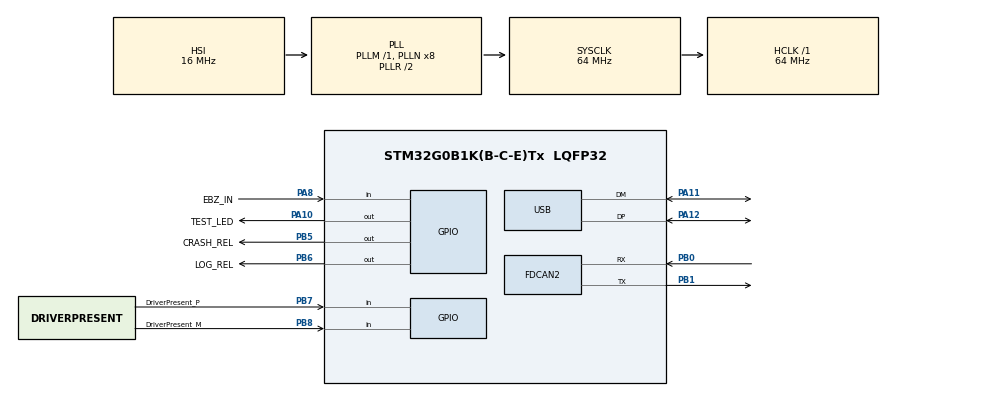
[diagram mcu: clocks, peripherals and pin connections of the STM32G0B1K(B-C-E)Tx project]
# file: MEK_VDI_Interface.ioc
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FDCAN2.AutoRetransmission=ENABLE
FDCAN2.CalculateBaudRateNominal=500000
FDCAN2.CalculateTimeBitNominal=2000
FDCAN2.CalculateTimeQuantumNominal=125.0
FDCAN2.DataPrescaler=8
FDCAN2.DataTimeSeg1=13
FDCAN2.DataTimeSeg2=2
FDCAN2.NominalPrescaler=8
FDCAN2.NominalTimeSeg1=13
FDCAN2.NominalTimeSeg2=2
FDCAN2.TransmitPause=ENABLE
Mcu.Family=STM32G0
Mcu.Name=STM32G0B1K(B-C-E)Tx
Mcu.Package=LQFP32
NVIC.TIM14_IRQn=true\:0\:0\:false\:false\:true\:true\:true\:true
NVIC.TIM16_FDCAN_IT0_IRQn=true\:0\:0\:false\:false\:true\:true\:true\:true
NVIC.TIM17_FDCAN_IT1_IRQn=true\:0\:0\:false\:false\:true\:true\:true\:true
NVIC.TIM7_LPTIM2_IRQn=true\:0\:0\:false\:false\:true\:true\:true\:true
PA10.GPIO_Label=TEST_LED
PA10.Signal=GPIO_Output
PA11\ [PA9].Mode=Device
PA11\ [PA9].Signal=USB_DM
PA12\ [PA10].Mode=Device
PA12\ [PA10].Signal=USB_DP
PA13.Mode=Serial_Wire
PA13.Signal=SYS_SWDIO
PA14-BOOT0.Mode=Serial_Wire
PA14-BOOT0.Signal=SYS_SWCLK
PA8.GPIO_Label=EBZ_IN
PA8.Signal=GPIO_Input
PB0.Mode=FDCAN_Activate
PB0.Signal=FDCAN2_RX
PB1.Mode=FDCAN_Activate
PB1.Signal=FDCAN2_TX
PB5.GPIO_Label=CRASH_REL
PB5.Signal=GPIO_Output
PB6.GPIO_Label=LOG_REL
PB6.Signal=GPIO_Output
PB7.GPIO_Label=DriverPresent_P
PB7.Signal=GPIO_Input
PB8.GPIO_Label=DriverPresent_M
PB8.Signal=GPIO_Input
ProjectManager.HeapSize=0x200
ProjectManager.StackSize=0x400
ProjectManager.TargetToolchain=STM32CubeIDE
RCC.ADCFreq_Value=64000000
RCC.AHBFreq_Value=64000000
RCC.CortexFreq_Value=64000000
RCC.EXTERNAL_CLOCK_VALUE=48000
RCC.HCLKFreq_Value=64000000
RCC.HSE_VALUE=8000000
RCC.HSI48_VALUE=48000000
RCC.HSI_VALUE=16000000
RCC.LSE_VALUE=32768
RCC.SYSCLKFreq_VALUE=64000000
RCC.SYSCLKSource=RCC_SYSCLKSOURCE_PLLCLK
RCC.USBFreq_Value=48000000
RCC.VCOOutputFreq_Value=128000000
TIM14.Period=1000-1
TIM14.Prescaler=64-1
TIM7.Period=1000-1
TIM7.Prescaler=64000-1
USB_DEVICE.CLASS_NAME_FS=CDC
USB_DEVICE.VirtualMode=Cdc
USB_DEVICE.VirtualModeFS=Cdc_FS
VP_SYS_VS_DBSignals.Mode=DisableDeadBatterySignals
VP_TIM14_VS_ClockSourceINT.Mode=Enable_Timer
VP_TIM7_VS_ClockSourceINT.Mode=Enable_Timer
VP_USB_DEVICE_VS_USB_DEVICE_CDC_FS.Mode=CDC_FS
board=custom

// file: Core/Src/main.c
/* USER CODE BEGIN Header */
/**
 ******************************************************************************
 * @file           : main.c
 * @brief          : Main program body
 ******************************************************************************
 * @attention
 *
 * Copyright (c) 2024 STMicroelectronics.
 * All rights reserved.
 *
 * This software is licensed under terms that can be found in the LICENSE file
 * in the root directory of this software component.
 * If no LICENSE file comes with this software, it is provided AS-IS.
 *
 ******************************************************************************
 */
/* USER CODE END Header */
#include "main.h"
#include "usb_device.h"

/* USER CODE BEGIN Includes */
#include "CO_app_STM32.h"
#include "OD.h"
#include "CANopen.h"
//#include "CO_driver_target.h"
/* USER CODE END Includes */

FDCAN_HandleTypeDef hfdcan2;
TIM_HandleTypeDef htim7;
TIM_HandleTypeDef htim14;

/* USER CODE BEGIN PV */
FFZ_Objects FFZ;
uint32_t Rx_OperationTime;
/* USER CODE END PV */

void SystemClock_Config(void);
static void MX_GPIO_Init(void);
static void MX_FDCAN2_Init(void);
static void MX_TIM14_Init(void);
static void MX_TIM7_Init(void);

int main(void) {

	/* MCU Configuration--------------------------------------------------------*/

	/* Reset of all peripherals, Initializes the Flash interface and the Systick. */
	HAL_Init();

	/* Configure the system clock */
	SystemClock_Config();

	/* Initialize all configured peripherals */
	MX_GPIO_Init();
	MX_FDCAN2_Init();
	MX_TIM14_Init();
	MX_USB_Device_Init();
	MX_TIM7_Init();
	/* USER CODE BEGIN 2 */
	HAL_TIM_Base_Start_IT(&htim7);
	readdata(ADDRESS, &Rx_OperationTime);
	FFZ_Init();
//	FFZ.OperationTime = EBZ_Init();

	CANopenNodeSTM32 canOpenNodeSTM32;
	canOpenNodeSTM32.CANHandle = &hfdcan2;
	canOpenNodeSTM32.HWInitFunction = MX_FDCAN2_Init;
	canOpenNodeSTM32.timerHandle = &htim14;
	canOpenNodeSTM32.desiredNodeID = 0x15;
	canOpenNodeSTM32.baudrate = 500;
	canopen_app_init(&canOpenNodeSTM32);
	/* USER CODE END 2 */

	/* Infinite loop */
	/* USER CODE BEGIN WHILE */

	while (1) {

		readParams();
		setParams();

		/*
		 * Process CANopen Start:
		 * Nur wenn Master ein Heartbeat sendet kann das FFZ antworten,
		 */
		if (msg_701_HB == true) {
			canopen_app_process();
		}

		/* USER CODE END WHILE */

	}
}

void SystemClock_Config(void) {
	RCC_OscInitTypeDef RCC_OscInitStruct = { 0 };
	RCC_ClkInitTypeDef RCC_ClkInitStruct = { 0 };

	/** Configure the main internal regulator output voltage
	 */
	HAL_PWREx_ControlVoltageScaling(PWR_REGULATOR_VOLTAGE_SCALE1);

	/** Initializes the RCC Oscillators according to the specified parameters
	 * in the RCC_OscInitTypeDef structure.
	 */
	RCC_OscInitStruct.OscillatorType = RCC_OSCILLATORTYPE_HSI
			| RCC_OSCILLATORTYPE_HSI48;
	RCC_OscInitStruct.HSIState = RCC_HSI_ON;
	RCC_OscInitStruct.HSI48State = RCC_HSI48_ON;
	RCC_OscInitStruct.HSIDiv = RCC_HSI_DIV1;
	RCC_OscInitStruct.HSICalibrationValue = RCC_HSICALIBRATION_DEFAULT;
	RCC_OscInitStruct.PLL.PLLState = RCC_PLL_ON;
	RCC_OscInitStruct.PLL.PLLSource = RCC_PLLSOURCE_HSI;
	RCC_OscInitStruct.PLL.PLLM = RCC_PLLM_DIV1;
	RCC_OscInitStruct.PLL.PLLN = 8;
	RCC_OscInitStruct.PLL.PLLP = RCC_PLLP_DIV2;
	RCC_OscInitStruct.PLL.PLLQ = RCC_PLLQ_DIV2;
	RCC_OscInitStruct.PLL.PLLR = RCC_PLLR_DIV2;
	if (HAL_RCC_OscConfig(&RCC_OscInitStruct) != HAL_OK) {
		Error_Handler();
	}

	/** Initializes the CPU, AHB and APB buses clocks
	 */
	RCC_ClkInitStruct.ClockType = RCC_CLOCKTYPE_HCLK | RCC_CLOCKTYPE_SYSCLK
			| RCC_CLOCKTYPE_PCLK1;
	RCC_ClkInitStruct.SYSCLKSource = RCC_SYSCLKSOURCE_PLLCLK;
	RCC_ClkInitStruct.AHBCLKDivider = RCC_SYSCLK_DIV1;
	RCC_ClkInitStruct.APB1CLKDivider = RCC_HCLK_DIV1;

	if (HAL_RCC_ClockConfig(&RCC_ClkInitStruct, FLASH_LATENCY_2) != HAL_OK) {
		Error_Handler();
	}
}

static void MX_FDCAN2_Init(void) {

	hfdcan2.Instance = FDCAN2;
	hfdcan2.Init.ClockDivider = FDCAN_CLOCK_DIV1;
	hfdcan2.Init.FrameFormat = FDCAN_FRAME_CLASSIC;
	hfdcan2.Init.Mode = FDCAN_MODE_NORMAL;
	hfdcan2.Init.AutoRetransmission = ENABLE;
	hfdcan2.Init.TransmitPause = ENABLE;
	hfdcan2.Init.ProtocolException = DISABLE;
	hfdcan2.Init.NominalPrescaler = 8;
	hfdcan2.Init.NominalSyncJumpWidth = 1;
	hfdcan2.Init.NominalTimeSeg1 = 13;
	hfdcan2.Init.NominalTimeSeg2 = 2;
	hfdcan2.Init.DataPrescaler = 8;
	hfdcan2.Init.DataSyncJumpWidth = 1;
	hfdcan2.Init.DataTimeSeg1 = 13;
	hfdcan2.Init.DataTimeSeg2 = 2;
	hfdcan2.Init.StdFiltersNbr = 0;
	hfdcan2.Init.ExtFiltersNbr = 0;
	hfdcan2.Init.TxFifoQueueMode = FDCAN_TX_FIFO_OPERATION;
	if (HAL_FDCAN_Init(&hfdcan2) != HAL_OK) {
		Error_Handler();
	}

}

static void MX_TIM7_Init(void) {

	TIM_MasterConfigTypeDef sMasterConfig = { 0 };

	htim7.Instance = TIM7;
	htim7.Init.Prescaler = 64000 - 1;
	htim7.Init.CounterMode = TIM_COUNTERMODE_UP;
	htim7.Init.Period = 1000 - 1;
	htim7.Init.AutoReloadPreload = TIM_AUTORELOAD_PRELOAD_DISABLE;
	if (HAL_TIM_Base_Init(&htim7) != HAL_OK) {
		Error_Handler();
	}
	sMasterConfig.MasterOutputTrigger = TIM_TRGO_RESET;
	sMasterConfig.MasterSlaveMode = TIM_MASTERSLAVEMODE_DISABLE;
	if (HAL_TIMEx_MasterConfigSynchronization(&htim7, &sMasterConfig)
			!= HAL_OK) {
		Error_Handler();
	}

}

static void MX_TIM14_Init(void) {

	htim14.Instance = TIM14;
	htim14.Init.Prescaler = 64 - 1;
	htim14.Init.CounterMode = TIM_COUNTERMODE_UP;
	htim14.Init.Period = 1000 - 1;
	htim14.Init.ClockDivision = TIM_CLOCKDIVISION_DIV1;
	htim14.Init.AutoReloadPreload = TIM_AUTORELOAD_PRELOAD_DISABLE;
	if (HAL_TIM_Base_Init(&htim14) != HAL_OK) {
		Error_Handler();
	}

}

static void MX_GPIO_Init(void) {
	GPIO_InitTypeDef GPIO_InitStruct = { 0 };

	/* GPIO Ports Clock Enable */
	__HAL_RCC_GPIOB_CLK_ENABLE();
	__HAL_RCC_GPIOA_CLK_ENABLE();

	/*Configure GPIO pin Output Level */
	HAL_GPIO_WritePin(TEST_LED_GPIO_Port, TEST_LED_Pin, GPIO_PIN_RESET);

	/*Configure GPIO pin Output Level */
	HAL_GPIO_WritePin(GPIOB, CRASH_REL_Pin | LOG_REL_Pin, GPIO_PIN_RESET);

	/*Configure GPIO pin : EBZ_IN_Pin */
	GPIO_InitStruct.Pin = EBZ_IN_Pin;
	GPIO_InitStruct.Mode = GPIO_MODE_INPUT;
	GPIO_InitStruct.Pull = GPIO_NOPULL;
	HAL_GPIO_Init(EBZ_IN_GPIO_Port, &GPIO_InitStruct);

	/*Configure GPIO pin : TEST_LED_Pin */
	GPIO_InitStruct.Pin = TEST_LED_Pin;
	GPIO_InitStruct.Mode = GPIO_MODE_OUTPUT_PP;
	GPIO_InitStruct.Pull = GPIO_NOPULL;
	GPIO_InitStruct.Speed = GPIO_SPEED_FREQ_LOW;
	HAL_GPIO_Init(TEST_LED_GPIO_Port, &GPIO_InitStruct);

	/*Configure GPIO pins : CRASH_REL_Pin LOG_REL_Pin */
	GPIO_InitStruct.Pin = CRASH_REL_Pin | LOG_REL_Pin;
	GPIO_InitStruct.Mode = GPIO_MODE_OUTPUT_PP;
	GPIO_InitStruct.Pull = GPIO_NOPULL;
	GPIO_InitStruct.Speed = GPIO_SPEED_FREQ_LOW;
	HAL_GPIO_Init(GPIOB, &GPIO_InitStruct);

	/*Configure GPIO pins : DriverPresent_P_Pin DriverPresent_M_Pin */
	GPIO_InitStruct.Pin = DriverPresent_P_Pin | DriverPresent_M_Pin;
	GPIO_InitStruct.Mode = GPIO_MODE_INPUT;
	GPIO_InitStruct.Pull = GPIO_NOPULL;
	HAL_GPIO_Init(GPIOB, &GPIO_InitStruct);

	/* USER CODE BEGIN MX_GPIO_Init_2 */
	/*Configure GPIO pin Output Level */

	/* USER CODE END MX_GPIO_Init_2 */
}

/* USER CODE BEGIN 4 */
void HAL_TIM_PeriodElapsedCallback(TIM_HandleTypeDef *htim) {
	/* USER CODE BEGIN Callback 0 */

//	/* USER CODE END Callback 0 */
//	if (htim->Instance == TIM14) {
//		HAL_IncTick();
//	}
	/* USER CODE BEGIN Callback 1 */
// Handle CANOpen app interrupts
	if (htim == canopenNodeSTM32->timerHandle) {
//			&& OD_PERSIST_COMM.x1017_producerHeartbeatTime != 0) {
		canopen_app_interrupt();
	}
	/* USER CODE END Callback 1 */

	if ((htim->Instance == TIM7)
			&& (HAL_GPIO_ReadPin(EBZ_IN_GPIO_Port, EBZ_IN_Pin) == GPIO_PIN_SET)
			&& (FFZ.ACRQ_AcceesReq == RELEASE)
			&& (FFZ.DriverPresent == ACTIVE )) {
		FFZ.OperationTime++;
		writedata(ADDRESS, FFZ.OperationTime);
	}
}

void readParams() {

	if (HAL_GPIO_ReadPin(DriverPresent_M_GPIO_Port, DriverPresent_M_Pin)
			|| HAL_GPIO_ReadPin(DriverPresent_P_GPIO_Port,
			DriverPresent_P_Pin)) {
		FFZ.DriverPresent = ACTIVE;
		HAL_GPIO_WritePin(TEST_LED_GPIO_Port, TEST_LED_Pin, GPIO_PIN_SET);

	} else {
		FFZ.DriverPresent = NOT_ACTIVE;
		HAL_GPIO_WritePin(TEST_LED_GPIO_Port, TEST_LED_Pin, GPIO_PIN_RESET);
	}

	//txPDO 1 @ 100 ms
	OD_PERSIST_COMM.x6010_DP_LA_TA = (FFZ.DriverPresent << 4)
			| (FFZ.Lift_Hydraulic_Active << 2) | FFZ.Driving_Active;
	OD_PERSIST_COMM.x6012_truckSpeed = FFZ.TruckSpeed;

	//txPDO 2 @ 1000 ms
	OD_PERSIST_COMM.x6013_operationTime = FFZ.OperationTime;
	OD_PERSIST_COMM.x6014_feature = (FFZ.F3A_TruckSpeedSignal << 2)
			| (FFZ.F2A_LiftingLimitiation << 1) | FFZ.F1A_CreepSpeed;
	OD_PERSIST_COMM.x6015_mainVersion = FFZ.MainVersion;
	OD_PERSIST_COMM.x6016_subVersion = FFZ.Subversion;

	// end of ReadParams

}

void setParams() {

	//rxPDO 1 @ 100 ms
	FFZ.LRRQ_LiftReductionReq = (OD_PERSIST_COMM.x6020_LRRQ_SRRQ_ACRQ
			& 0b00010000) >> 4;

	FFZ.SRRQ_SpeedReductionReq = (OD_PERSIST_COMM.x6020_LRRQ_SRRQ_ACRQ
			& 0b00000100) >> 2;

	FFZ.ACRQ_AcceesReq = OD_PERSIST_COMM.x6020_LRRQ_SRRQ_ACRQ & 0b00000001;

	if (FFZ.ACRQ_AcceesReq == RELEASE) {
		HAL_GPIO_WritePin(LOG_REL_GPIO_Port, LOG_REL_Pin, GPIO_PIN_SET);
	} else {
		HAL_GPIO_WritePin(LOG_REL_GPIO_Port, LOG_REL_Pin, GPIO_PIN_RESET);
	}

	if (FFZ.SRRQ_SpeedReductionReq == RELEASE) {
		HAL_GPIO_WritePin(CRASH_REL_GPIO_Port, CRASH_REL_Pin, GPIO_PIN_SET);
	} else {
		HAL_GPIO_WritePin(CRASH_REL_GPIO_Port, CRASH_REL_Pin, GPIO_PIN_RESET);
	}
}

uint32_t EBZ_Init() {
	uint32_t ebz = 0;

	/*
	 * Wenn ein Wert im Speicher vorhanden, -> Wert übernehmen
	 *
	 * Wenn Speicher leer, -> EBZ=0
	 *
	 */

	if (Rx_OperationTime != 0) {
		ebz = Rx_OperationTime;
	}
	return ebz;
}
/* USER CODE END 4 */

void Error_Handler(void) {
	__disable_irq();
	while (1) {
	}
}
